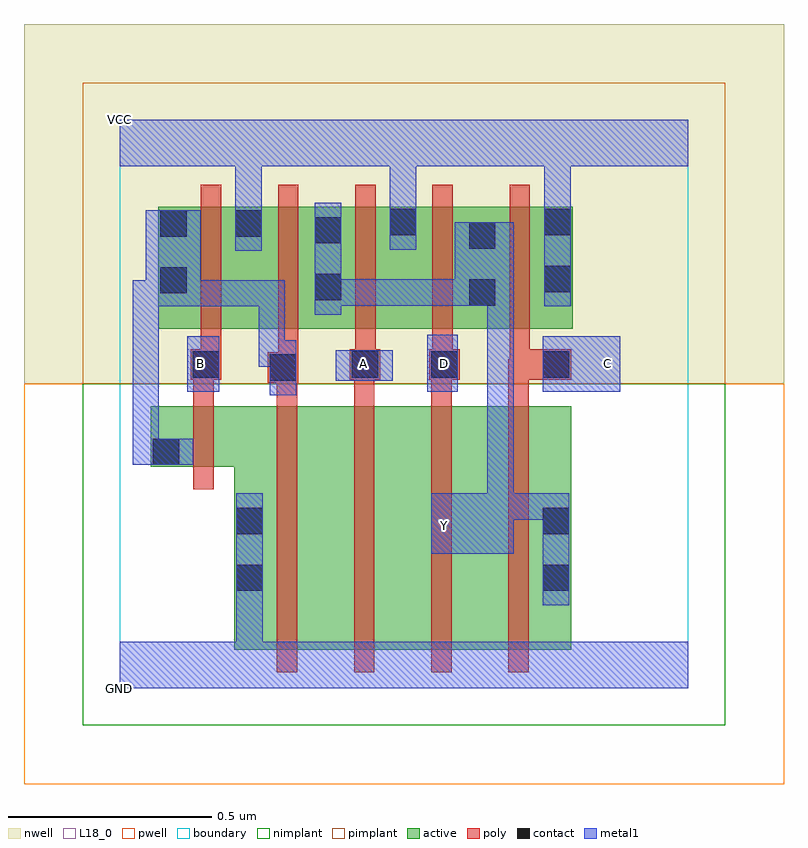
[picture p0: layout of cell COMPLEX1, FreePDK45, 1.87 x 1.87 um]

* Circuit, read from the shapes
.subckt COMPLEX1 A B C D GND VCC Y
M1 GND B n1 VSUBS nfet w=0.15u l=0.05u
M2 n2 n1 GND VSUBS nfet w=0.6u l=0.05u
M3 n3 A n2 VSUBS nfet w=0.6u l=0.05u
M4 n4 D n3 VSUBS nfet w=0.6u l=0.05u
M5 Y C n4 VSUBS nfet w=0.6u l=0.05u
M6 VCC B n1 n5 pfet w=0.3u l=0.05u
M7 Y n1 VCC n5 pfet w=0.3u l=0.05u
M8 VCC A Y n5 pfet w=0.3u l=0.05u
M9 Y D VCC n5 pfet w=0.3u l=0.05u
M10 VCC C Y n5 pfet w=0.3u l=0.05u
.ends

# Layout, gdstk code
import gdstk
lib = gdstk.Library(unit=1e-6, precision=1e-09)
def R(c, l, rs):  # rectangles x0, y0, x1, y1
    for r in rs: c.add(gdstk.rectangle(r[:2], r[2:], *l))
def A(c, l, x, y, w, h, nx, ny, dx, dy):  # array of equal rectangles
    R(c, l, [(x+i*dx, y+j*dy, x+i*dx+w, y+j*dy+h) for i in range(nx) for j in range(ny)])
active = (1, 0)
pwell = (2, 0)
nwell = (3, 0)
nimplant = (4, 0)
pimplant = (5, 0)
poly = (9, 0)
contact = (10, 0)
metal1 = (11, 0)
L18_0 = (18, 0)
boundary = (235, 0)

complex1 = lib.new_cell('COMPLEX1')
A(complex1, active, 0.095, 0.885, 0.26, 0.3, 3, 1, 0.38, 0)
R(complex1, active, [(0.282,0.095,0.357,0.695), (0.282,0.095,0.507,0.695), (0.507,0.095,0.697,0.695), (0.697,0.095,0.887,0.695), (0.887,0.095,1.112,0.695), (1.037,0.095,1.112,0.695), (0.077,0.545,0.357,0.695), (0.077,0.545,0.152,0.695), (0.095,0.885,0.17,1.185), (0.28,0.885,0.355,1.185), (0.28,0.885,0.55,1.185), (0.475,0.885,0.55,1.167), (0.66,0.885,0.93,1.185), (0.855,0.885,0.93,1.185), (1.04,0.885,1.115,1.185), (0.66,1.002,0.735,1.185)])
R(complex1, pwell, [(-0.235,-0.235,1.635,0.75)])
R(complex1, nwell, [(-0.235,0.75,1.635,1.635)])
R(complex1, nimplant, [(-0.09,-0.09,1.49,0.75)])
R(complex1, pimplant, [(-0.09,0.75,1.49,1.49)])
A(complex1, poly, 0.387, 0.04, 0.05, 0.71, 4, 1, 0.19, 0)
A(complex1, poly, 0.577, 0.7, 0.05, 0.11, 3, 1, 0.19, 0)
A(complex1, poly, 0.58, 0.785, 0.05, 0.095, 3, 1, 0.19, 0)
A(complex1, poly, 0.2, 0.83, 0.05, 0.41, 5, 1, 0.19, 0)
R(complex1, poly, [(0.182,0.49,0.232,0.75), (0.182,0.7,0.232,0.81), (0.387,0.7,0.437,0.802), (0.365,0.752,0.44,0.827), (0.387,0.752,0.437,0.802), (0.387,0.752,0.437,0.802), (0.175,0.76,0.25,0.835), (0.567,0.76,0.642,0.835), (0.762,0.76,0.837,0.835), (0.767,0.76,0.817,0.81), (0.767,0.76,0.817,0.81), (0.957,0.76,1.01,0.81), (0.96,0.76,1.01,0.81), (0.96,0.76,1.112,0.835), (0.39,0.777,0.44,0.88), (0.2,0.785,0.25,0.88), (0.2,0.785,0.25,0.835), (0.2,0.785,0.25,0.835), (0.58,0.785,0.63,0.835), (0.58,0.785,0.63,0.835)])
R(complex1, contact, [(0.287,0.24,0.352,0.305), (1.042,0.24,1.107,0.305), (0.287,0.38,0.352,0.445), (1.042,0.38,1.107,0.445), (0.082,0.55,0.147,0.615), (0.37,0.757,0.435,0.822), (0.18,0.765,0.245,0.83), (0.572,0.765,0.637,0.83), (0.767,0.765,0.832,0.83), (1.042,0.765,1.107,0.83), (0.86,0.942,0.925,1.007), (0.48,0.955,0.545,1.02), (0.1,0.972,0.165,1.037), (1.045,0.975,1.11,1.04), (0.86,1.082,0.925,1.147), (0.48,1.095,0.545,1.16), (0.1,1.112,0.165,1.177), (0.285,1.112,0.35,1.177), (0.665,1.115,0.73,1.18), (1.045,1.115,1.11,1.18)])
R(complex1, metal1, [(0,0,1.4,0.115), (0.287,0.05,0.352,0.27), (0.287,0.205,0.352,0.48), (1.042,0.205,1.107,0.48), (0.767,0.332,0.97,0.48), (0.905,0.415,1.107,0.48), (0.905,0.415,0.97,1.007), (1.042,0.415,1.107,0.48), (1.042,0.415,1.107,0.48), (1.042,0.415,1.107,0.48), (1.042,0.415,1.107,0.48), (0.032,0.55,0.097,0.615), (0.032,0.55,0.097,0.615), (0.032,0.55,0.097,1.005), (0.032,0.55,0.182,0.615), (0.37,0.722,0.435,0.857), (0.167,0.73,0.245,0.867), (0.757,0.73,0.832,0.87), (1.042,0.73,1.232,0.867), (0.532,0.757,0.672,0.832), (0.342,0.792,0.435,0.857), (0.342,0.792,0.407,1.005), (0.48,0.92,0.545,1.195), (0.032,0.94,0.13,1.005), (0.065,0.94,0.13,1.005), (0.065,0.94,0.13,1.005), (0.065,0.94,0.407,1.005), (0.065,0.94,0.13,1.037), (1.045,0.94,1.11,1.215), (0.48,0.942,0.545,1.007), (0.48,0.942,0.545,1.007), (0.48,0.942,0.682,1.007), (0.617,0.942,0.682,1.007), (0.617,0.942,0.682,1.007), (0.617,0.942,0.682,1.007), (0.617,0.942,0.89,1.007), (0.825,0.942,0.97,1.147), (0.905,0.942,0.97,1.007), (0.905,0.942,0.97,1.007), (0.065,0.972,0.2,1.177), (0.285,1.077,0.35,1.212), (0.665,1.08,0.73,1.215), (0.285,1.147,0.35,1.35), (0.665,1.15,0.73,1.35), (1.045,1.15,1.11,1.35), (0,1.285,1.4,1.4), (0.285,1.285,0.35,1.35), (0.285,1.285,0.35,1.35), (0.665,1.285,0.73,1.35), (0.665,1.285,0.73,1.35), (1.045,1.285,1.11,1.35), (1.045,1.285,1.11,1.35)])
R(complex1, L18_0, [(0,0,1.4,0.115), (0.287,0.05,0.352,0.27), (0.287,0.205,0.352,0.48), (1.042,0.205,1.107,0.48), (0.767,0.332,0.97,0.48), (0.767,0.367,0.832,0.432), (0.905,0.415,1.107,0.48), (0.905,0.415,0.97,1.007), (1.042,0.415,1.107,0.48), (1.042,0.415,1.107,0.48), (1.042,0.415,1.107,0.48), (1.042,0.415,1.107,0.48), (0.167,0.73,0.245,0.867), (0.757,0.73,0.832,0.87), (1.042,0.73,1.232,0.867), (0.532,0.757,0.672,0.832), (0.167,0.767,0.232,0.832), (0.567,0.767,0.632,0.832), (0.767,0.767,0.832,0.832), (1.167,0.767,1.232,0.832), (0.48,0.92,0.545,1.195), (1.045,0.94,1.11,1.215), (0.48,0.942,0.545,1.007), (0.48,0.942,0.545,1.007), (0.48,0.942,0.682,1.007), (0.617,0.942,0.682,1.007), (0.617,0.942,0.682,1.007), (0.617,0.942,0.682,1.007), (0.617,0.942,0.89,1.007), (0.825,0.942,0.97,1.147), (0.905,0.942,0.97,1.007), (0.905,0.942,0.97,1.007), (0.285,1.077,0.35,1.212), (0.665,1.08,0.73,1.215), (0.285,1.147,0.35,1.35), (0.665,1.15,0.73,1.35), (1.045,1.15,1.11,1.35), (0,1.285,1.4,1.4), (0.285,1.285,0.35,1.35), (0.285,1.285,0.35,1.35), (0.665,1.285,0.73,1.35), (0.665,1.285,0.73,1.35), (1.045,1.285,1.11,1.35), (1.045,1.285,1.11,1.35)])
R(complex1, boundary, [(0,0,1.4,1.4)])
complex1.add(gdstk.Label('A', (0.6,0.8), layer=11, texttype=0))
complex1.add(gdstk.Label('B', (0.2,0.8), layer=11, texttype=0))
complex1.add(gdstk.Label('C', (1.2,0.8), layer=11, texttype=0))
complex1.add(gdstk.Label('D', (0.8,0.8), layer=11, texttype=0))
complex1.add(gdstk.Label('Y', (0.8,0.4), layer=11, texttype=0))
complex1.add(gdstk.Label('VCC', (0,1.4), layer=11, texttype=0))
complex1.add(gdstk.Label('GND', (0,0), layer=11, texttype=0))

lib.write_gds('COMPLEX1.gds')
